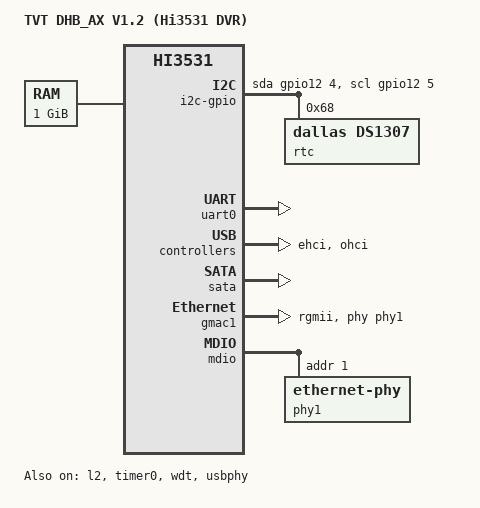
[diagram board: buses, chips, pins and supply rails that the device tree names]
// SPDX-License-Identifier: GPL-2.0-only
/*
 * Shenzhen TVT Digital motherboard marked DHB_AX V1.2, using the HiSilicon
 * Hi3531.  Developed against an LTS LTD2704XE-P; the same board also ships
 * under other retail brands.
 *
 * Validated general-purpose bring-up for memory, SMP, GPIO, RTC, USB, SATA,
 * GMAC1 Ethernet and the watchdog.
 */
/dts-v1/;

#include <dt-bindings/gpio/gpio.h>
#include "hi3531.dtsi"

/ {
	model = "TVT DHB_AX V1.2 (Hi3531 DVR)";
	compatible = "tvt,dhb-ax", "hisilicon,hi3531";

	aliases {
		ethernet0 = &gmac1;
	};

	chosen {
		/* U-Boot supplies root= and mem=; Linux uses mem= to replace ATAG_MEM. */
		stdout-path = "serial0:115200n8";
	};

	/*
	 * Two independent 512 MiB banks.  With U-Boot's data cache evicted,
	 * each bank retained distinct patterns 256 MiB apart and the words at
	 * 0x9f000000 and 0xdf000000 retained different patterns near the top
	 * of their respective banks.  A separate write confirmed that
	 * 0xa8000000 aliases 0x88000000, but that address is in the unmapped
	 * hole between the controllers; it does not imply that DDR1 at
	 * 0xc0000000 aliases DDR0.
	 *
	 * The vendor's "DRAM: 256 MiB" is a hardcoded constant in their U-Boot
	 * board file, not a measurement.
	 */
	memory@80000000 {
		device_type = "memory";
		reg = <0x80000000 0x20000000>,
		      <0xc0000000 0x20000000>;
	};

	/*
	 * No reserved-memory node, deliberately.
	 *
	 * The vendor passes mem=224M, so everything above 0x8e000000 is
	 * theirs -- 288 MiB of the 512 MiB bank.  This port claims
	 * 0x90000000-0x9fffffff inside that region and has passed sustained
	 * DMA tests there.
	 *
	 * U-Boot's video buffers sit at 0xc0000000 and 0xc1000000 in DDR1.
	 * They are not aliases of the kernel load area.  The display path
	 * only reads those buffers and this port does not use it, so it
	 * cannot corrupt RAM and does not justify withholding the bank from
	 * Linux.
	 *
	 * DDR0 is verified by filling nearly all of it with a known pattern
	 * and checksumming it.  If a change makes an abandoned media engine
	 * write either bank, extend that test across DDR1 before accepting
	 * the change.
	 */

	/*
	 * Bit-banged I2C, matching how the vendor reaches the DS1307.  Their
	 * gpioi2c module drives PL061 data bits 4 and 5 (offsets 0x40 and
	 * 0x80 in the address-masked data window) and sets both as outputs.
	 * Bank 12 is the only one of the nineteen whose direction register
	 * reads 0x30, and both pins sit high at rest, which is what an idle
	 * bus with pull-ups looks like.
	 *
	 * open-drain is required: I2C devices pull the line low and rely on
	 * the pull-up to return it high, so the controller must never drive
	 * high actively.  This registerless controller is a root child rather
	 * than a child of the simple-bus SoC node.
	 */
	i2c-gpio {
		compatible = "i2c-gpio";
		sda-gpios = <&gpio12 4 (GPIO_ACTIVE_HIGH | GPIO_OPEN_DRAIN)>;
		scl-gpios = <&gpio12 5 (GPIO_ACTIVE_HIGH | GPIO_OPEN_DRAIN)>;
		i2c-gpio,delay-us = <5>;   /* ~100 kHz */
		#address-cells = <1>;
		#size-cells = <0>;

		/*
		 * Battery-backed DS1307-compatible clock.  The vendor module's
		 * default mode uses the DS1307 register map at 7-bit address 0x68;
		 * its separate PCF8563 mode uses 0x51.  Mainline rtc-ds1307 reads
		 * this device successfully and supplies rtc0/hctosys.  The exact
		 * package manufacturer remains unidentified.
		 *
		 * The SoC's own PL031 is not usable -- see hi3531.dtsi -- so this
		 * is the board's only real timekeeper.
		 */
		rtc@68 {
			compatible = "dallas,ds1307";
			reg = <0x68>;
		};
	};
};

/*
 * The outer cache is described in the .dtsi but left disabled there, so that
 * turning it off is a one-line device-tree change on either board rather than
 * a kernel rebuild.
 */
&l2 {
	status = "okay";
};

&timer0 {
	status = "okay";
};

&uart0 {
	status = "okay";
};

/*
 * Watchdog, used as a deadman during risky bring-up: it only starts when
 * userspace opens /dev/watchdog, and U-Boot stops it at boot ("dog_close").
 */
&wdt {
	status = "okay";
};

&usbphy {
	status = "okay";
};

&ehci {
	status = "okay";
};

&ohci {
	status = "okay";
};

&sata {
	status = "okay";
};

&gmac1 {
	phy-mode = "rgmii";
	phy-handle = <&phy1>;
	max-speed = <1000>;
	status = "okay";
};

&mdio {
	phy1: ethernet-phy@1 {
		reg = <1>;
	};
};

/* All nineteen banks are brought out on this board. */
&gpio0 { status = "okay"; };
&gpio1 { status = "okay"; };
&gpio2 { status = "okay"; };
&gpio3 { status = "okay"; };
&gpio4 { status = "okay"; };
&gpio5 { status = "okay"; };
&gpio6 { status = "okay"; };
&gpio7 { status = "okay"; };
&gpio8 { status = "okay"; };
&gpio9 { status = "okay"; };
&gpio10 { status = "okay"; };
&gpio11 { status = "okay"; };
&gpio12 { status = "okay"; };
&gpio13 { status = "okay"; };
&gpio14 { status = "okay"; };
&gpio15 { status = "okay"; };
&gpio16 { status = "okay"; };
&gpio17 { status = "okay"; };
&gpio18 { status = "okay"; };
